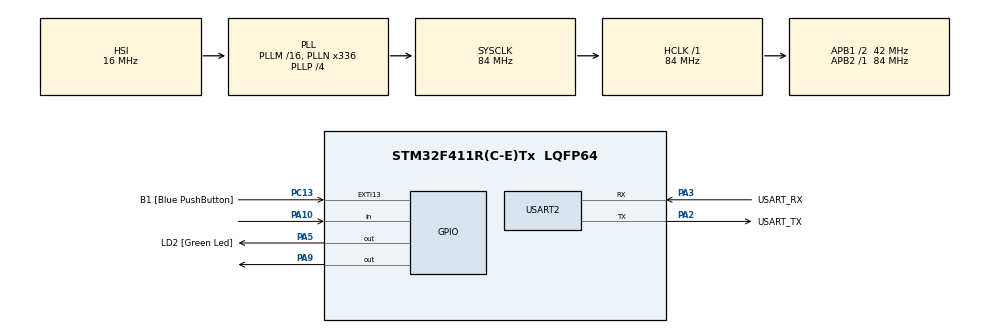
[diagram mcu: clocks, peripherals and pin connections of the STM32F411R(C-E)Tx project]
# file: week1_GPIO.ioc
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Mcu.Family=STM32F4
Mcu.Name=STM32F411R(C-E)Tx
Mcu.Package=LQFP64
NVIC.PriorityGroup=NVIC_PRIORITYGROUP_0
PA10.Signal=GPIO_Input
PA13.GPIO_Label=TMS
PA13.Mode=Serial_Wire
PA13.Signal=SYS_JTMS-SWDIO
PA14.GPIO_Label=TCK
PA14.Mode=Serial_Wire
PA14.Signal=SYS_JTCK-SWCLK
PA2.GPIO_Label=USART_TX
PA2.Mode=Asynchronous
PA2.Signal=USART2_TX
PA3.GPIO_Label=USART_RX
PA3.Mode=Asynchronous
PA3.Signal=USART2_RX
PA5.GPIO_Label=LD2 [Green Led]
PA5.Signal=GPIO_Output
PA9.Signal=GPIO_Output
PB3.GPIO_Label=SWO
PB3.Signal=SYS_JTDO-SWO
PC13-ANTI_TAMP.GPIO_Label=B1 [Blue PushButton]
PC13-ANTI_TAMP.GPIO_ModeDefaultEXTI=GPIO_MODE_IT_FALLING
PC13-ANTI_TAMP.Signal=GPXTI13
PC14-OSC32_IN.Mode=LSE-External-Oscillator
PC14-OSC32_IN.Signal=RCC_OSC32_IN
PC15-OSC32_OUT.Mode=LSE-External-Oscillator
PC15-OSC32_OUT.Signal=RCC_OSC32_OUT
PH0\ -\ OSC_IN.Mode=HSE-External-Clock-Source
PH0\ -\ OSC_IN.Signal=RCC_OSC_IN
PH1\ -\ OSC_OUT.Mode=HSE-External-Clock-Source
PH1\ -\ OSC_OUT.Signal=RCC_OSC_OUT
ProjectManager.HeapSize=0x200
ProjectManager.StackSize=0x400
ProjectManager.TargetToolchain=STM32CubeIDE
RCC.48MHZClocksFreq_Value=84000000
RCC.AHBFreq_Value=84000000
RCC.APB1CLKDivider=RCC_HCLK_DIV2
RCC.APB1Freq_Value=42000000
RCC.APB1TimFreq_Value=84000000
RCC.APB2Freq_Value=84000000
RCC.APB2TimFreq_Value=84000000
RCC.CortexFreq_Value=84000000
RCC.FLatency-AdvancedSettings=FLASH_LATENCY_2
RCC.HCLKFreq_Value=84000000
RCC.HSE_VALUE=8000000
RCC.HSI_VALUE=16000000
RCC.PLLN=336
RCC.PLLP=RCC_PLLP_DIV4
RCC.SYSCLKFreq_VALUE=84000000
RCC.SYSCLKSource=RCC_SYSCLKSOURCE_PLLCLK
RCC.VCOOutputFreq_Value=336000000
USART2.VirtualMode=VM_ASYNC
board=NUCLEO-F411RE

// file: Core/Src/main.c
/* USER CODE BEGIN Header */
/**
  ******************************************************************************
  * @file           : main.c
  * @brief          : Main program body
  ******************************************************************************
  * @attention
  *
  * <h2><center>&copy; Copyright (c) 2021 STMicroelectronics.
  * All rights reserved.</center></h2>
  *
  * This software component is licensed by ST under BSD 3-Clause license,
  * the "License"; You may not use this file except in compliance with the
  * License. You may obtain a copy of the License at:
  *                        opensource.org/licenses/BSD-3-Clause
  *
  ******************************************************************************
  */
/* USER CODE END Header */
#include "main.h"

UART_HandleTypeDef huart2;

void SystemClock_Config(void);
static void MX_GPIO_Init(void);
static void MX_USART2_UART_Init(void);

int main(void)
{

  /* MCU Configuration--------------------------------------------------------*/

  /* Reset of all peripherals, Initializes the Flash interface and the Systick. */
  HAL_Init();

  /* Configure the system clock */
  SystemClock_Config();

  /* Initialize all configured peripherals */
  MX_GPIO_Init();
  MX_USART2_UART_Init();
  /* USER CODE BEGIN 2 */
  uint8_t statenow=0;
  uint8_t statepre=0;
  uint16_t ledrealhaft=500;
  GPIO_PinState switchstate[2];
  uint32_t timestamp=0;
  uint32_t timeslimping=0;
  enum{
	  LED1haftpreiod=500,LED2haftpreiod=1000,samplingtime=10
  };
  /* USER CODE END 2 */

  /* Infinite loop */
  /* USER CODE BEGIN WHILE */
  while (1)
  {
	if(HAL_GetTick()-timeslimping>=samplingtime){
	timeslimping=HAL_GetTick();

	switchstate[0]=HAL_GPIO_ReadPin(GPIOA, GPIO_PIN_10);
	if(switchstate[1]== GPIO_PIN_SET && switchstate[0]==GPIO_PIN_RESET){
		if(ledrealhaft==500){
			ledrealhaft=LED2haftpreiod;
		}else{
			ledrealhaft=LED1haftpreiod;
		}
	}

	if(HAL_GetTick()-timestamp>=ledrealhaft){
		timestamp=HAL_GetTick();
		if(HAL_GPIO_ReadPin(GPIOA, GPIO_PIN_9)==GPIO_PIN_SET){
			HAL_GPIO_WritePin(GPIOA, GPIO_PIN_9, GPIO_PIN_RESET);
		}else{
			HAL_GPIO_WritePin(GPIOA, GPIO_PIN_9, GPIO_PIN_SET);
		}
	}
	switchstate[1]=switchstate[0];

    /* USER CODE END WHILE */

  }
  }
}

void SystemClock_Config(void)
{
  RCC_OscInitTypeDef RCC_OscInitStruct = {0};
  RCC_ClkInitTypeDef RCC_ClkInitStruct = {0};

  /** Configure the main internal regulator output voltage
  */
  __HAL_RCC_PWR_CLK_ENABLE();
  __HAL_PWR_VOLTAGESCALING_CONFIG(PWR_REGULATOR_VOLTAGE_SCALE1);
  /** Initializes the RCC Oscillators according to the specified parameters
  * in the RCC_OscInitTypeDef structure.
  */
  RCC_OscInitStruct.OscillatorType = RCC_OSCILLATORTYPE_HSI;
  RCC_OscInitStruct.HSIState = RCC_HSI_ON;
  RCC_OscInitStruct.HSICalibrationValue = RCC_HSICALIBRATION_DEFAULT;
  RCC_OscInitStruct.PLL.PLLState = RCC_PLL_ON;
  RCC_OscInitStruct.PLL.PLLSource = RCC_PLLSOURCE_HSI;
  RCC_OscInitStruct.PLL.PLLM = 16;
  RCC_OscInitStruct.PLL.PLLN = 336;
  RCC_OscInitStruct.PLL.PLLP = RCC_PLLP_DIV4;
  RCC_OscInitStruct.PLL.PLLQ = 4;
  if (HAL_RCC_OscConfig(&RCC_OscInitStruct) != HAL_OK)
  {
    Error_Handler();
  }
  /** Initializes the CPU, AHB and APB buses clocks
  */
  RCC_ClkInitStruct.ClockType = RCC_CLOCKTYPE_HCLK|RCC_CLOCKTYPE_SYSCLK
                              |RCC_CLOCKTYPE_PCLK1|RCC_CLOCKTYPE_PCLK2;
  RCC_ClkInitStruct.SYSCLKSource = RCC_SYSCLKSOURCE_PLLCLK;
  RCC_ClkInitStruct.AHBCLKDivider = RCC_SYSCLK_DIV1;
  RCC_ClkInitStruct.APB1CLKDivider = RCC_HCLK_DIV2;
  RCC_ClkInitStruct.APB2CLKDivider = RCC_HCLK_DIV1;

  if (HAL_RCC_ClockConfig(&RCC_ClkInitStruct, FLASH_LATENCY_2) != HAL_OK)
  {
    Error_Handler();
  }
}

static void MX_USART2_UART_Init(void)
{

  huart2.Instance = USART2;
  huart2.Init.BaudRate = 115200;
  huart2.Init.WordLength = UART_WORDLENGTH_8B;
  huart2.Init.StopBits = UART_STOPBITS_1;
  huart2.Init.Parity = UART_PARITY_NONE;
  huart2.Init.Mode = UART_MODE_TX_RX;
  huart2.Init.HwFlowCtl = UART_HWCONTROL_NONE;
  huart2.Init.OverSampling = UART_OVERSAMPLING_16;
  if (HAL_UART_Init(&huart2) != HAL_OK)
  {
    Error_Handler();
  }

}

static void MX_GPIO_Init(void)
{
  GPIO_InitTypeDef GPIO_InitStruct = {0};

  /* GPIO Ports Clock Enable */
  __HAL_RCC_GPIOC_CLK_ENABLE();
  __HAL_RCC_GPIOH_CLK_ENABLE();
  __HAL_RCC_GPIOA_CLK_ENABLE();
  __HAL_RCC_GPIOB_CLK_ENABLE();

  /*Configure GPIO pin Output Level */
  HAL_GPIO_WritePin(GPIOA, LD2_Pin|GPIO_PIN_9, GPIO_PIN_RESET);

  /*Configure GPIO pin : B1_Pin */
  GPIO_InitStruct.Pin = B1_Pin;
  GPIO_InitStruct.Mode = GPIO_MODE_IT_FALLING;
  GPIO_InitStruct.Pull = GPIO_NOPULL;
  HAL_GPIO_Init(B1_GPIO_Port, &GPIO_InitStruct);

  /*Configure GPIO pins : LD2_Pin PA9 */
  GPIO_InitStruct.Pin = LD2_Pin|GPIO_PIN_9;
  GPIO_InitStruct.Mode = GPIO_MODE_OUTPUT_PP;
  GPIO_InitStruct.Pull = GPIO_NOPULL;
  GPIO_InitStruct.Speed = GPIO_SPEED_FREQ_LOW;
  HAL_GPIO_Init(GPIOA, &GPIO_InitStruct);

  /*Configure GPIO pin : PA10 */
  GPIO_InitStruct.Pin = GPIO_PIN_10;
  GPIO_InitStruct.Mode = GPIO_MODE_INPUT;
  GPIO_InitStruct.Pull = GPIO_NOPULL;
  HAL_GPIO_Init(GPIOA, &GPIO_InitStruct);

}

void Error_Handler(void)
{
  __disable_irq();
  while (1)
  {
  }
}

/************************ (C) COPYRIGHT STMicroelectronics *****END OF FILE****/
